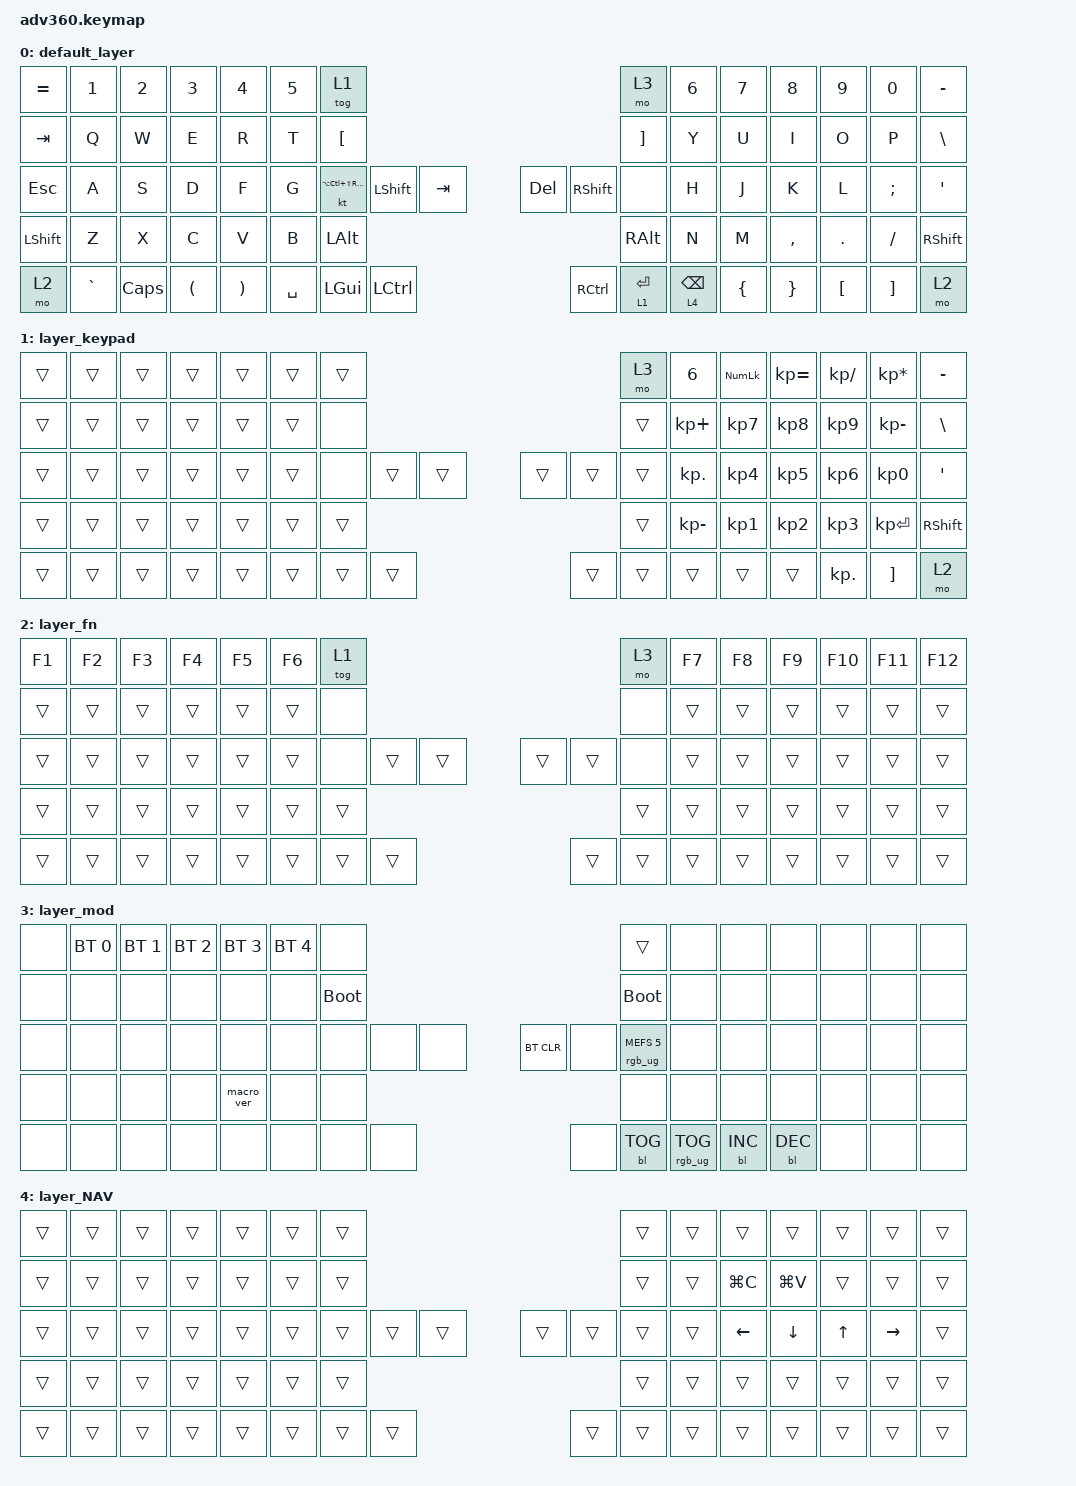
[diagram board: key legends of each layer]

/*
 * Copyright (c) 2020 The ZMK Contributors
 *
 * SPDX-License-Identifier: MIT
 */


/* THIS FILE WAS GENERATED!
 *
 * This file was generated automatically. You may or may not want to
 * edit it directly.
 */

#include <behaviors.dtsi>
#include <dt-bindings/zmk/keys.h>
#include <dt-bindings/zmk/keys.h>
#include <dt-bindings/zmk/bt.h>
#include <dt-bindings/zmk/rgb.h>
#include <dt-bindings/zmk/backlight.h>

/ {
  behaviors {
    #include "macros.dtsi"
    #include "version.dtsi"

    hm: homerow_mods {
        compatible = "zmk,behavior-hold-tap";
        label = "HOMEROW_MODS";
        #binding-cells = <2>;
        tapping-term-ms = <200>;
        quick_tap_ms = <175>;
        flavor = "tap-preferred";
        bindings = <&kp>, <&kp>;
    };
  };
 combos {
    compatible = "zmk,combos";
    combo_EQUAL {
             timeout-ms = <50>;
             key-positions = <31 32>;
             bindings = <&kp EQUAL>;
         };
    combo_MINUS {
             timeout-ms = <50>;
             key-positions = <32 33>;
             bindings = <&kp KP_MINUS>;
         };
    combo_PLUS {
             timeout-ms = <50>;
             key-positions = <30 31>;
             bindings = <&kp KP_PLUS>;
         };
     combo_EXCL {
             timeout-ms = <50>;
             key-positions = <32 17>;
             bindings = <&kp EXCL>;
         };
     combo_QMARK {
             timeout-ms = <50>;
             key-positions = <41 24>;
             bindings = <&kp QMARK>;
         };
     combo_COLON {
             timeout-ms = <50>;
             key-positions = <55 42>;
             bindings = <&kp COLON>;
         };
     combo_DQT {
             timeout-ms = <50>;
             key-positions = <41 42>;
             bindings = <&kp DQT>;
         };
       combo_UNDER{
             timeout-ms = <50>;
             key-positions = <50 31>;
             bindings = <&kp UNDER>;
         };
    
 };
keymap {
        compatible = "zmk,keymap";


        default_layer {
            bindings = <
 &kp EQUAL     &kp N1    &kp N2    &kp N3    &kp N4  &kp N5                               &tog 1                                                                                              &mo 3  &kp N6    &kp N7     &kp N8    &kp N9    &kp N0  &kp MINUS
   &kp TAB      &kp Q     &kp W     &kp E     &kp R   &kp T                             &kp LBKT                                                                                           &kp RBKT   &kp Y     &kp U      &kp I     &kp O     &kp P   &kp BSLH
   &kp ESC      &kp A     &kp S     &kp D     &kp F   &kp G            &kt LA(LC(LS(RIGHT_GUI)))  &kp LEFT_SHIFT           &kp TAB                            &kp DEL   &kp RSHIFT            &none   &kp H     &kp J      &kp K     &kp L  &kp SEMI    &kp SQT
 &kp LSHFT      &kp Z     &kp X     &kp C     &kp V   &kp B                                                           &kp LEFT_ALT                      &kp RIGHT_ALT                                 &kp N     &kp M  &kp COMMA   &kp DOT  &kp FSLH  &kp RSHFT
     &mo 2  &kp GRAVE  &kp CAPS  &kp LPAR  &kp RPAR                                    &kp SPACE    &kp LEFT_GUI  &kp LEFT_CONTROL                  &kp RIGHT_CONTROL  &lt 1 ENTER  &lt 4 BACKSPACE          &kp LBRC   &kp RBRC  &kp LBKT  &kp RBKT      &mo 2
            >;
        };

        layer_keypad {
            bindings = <
 &trans  &trans  &trans  &trans  &trans  &trans            &trans                                                   &mo 3        &kp N6  &kp KP_NUM  &kp KP_EQUAL  &kp KP_DIVIDE  &kp KP_MULTIPLY  &kp MINUS
 &trans  &trans  &trans  &trans  &trans  &trans             &none                                                  &trans   &kp KP_PLUS   &kp KP_N7     &kp KP_N8      &kp KP_N9     &kp KP_MINUS   &kp BSLH
 &trans  &trans  &trans  &trans  &trans  &trans             &none  &trans  &trans                  &trans  &trans  &trans    &kp KP_DOT   &kp KP_N4     &kp KP_N5      &kp KP_N6        &kp KP_N0    &kp SQT
 &trans  &trans  &trans  &trans  &trans  &trans                            &trans                  &trans                  &kp KP_MINUS   &kp KP_N1     &kp KP_N2      &kp KP_N3     &kp KP_ENTER  &kp RSHFT
 &trans  &trans  &trans  &trans  &trans                    &trans  &trans  &trans                  &trans  &trans  &trans                    &trans        &trans     &kp KP_DOT         &kp RBKT      &mo 2
            >;
        };

        layer_fn {
            bindings = <
 &kp F1  &kp F2  &kp F3  &kp F4  &kp F5  &kp F6            &tog 1                                                   &mo 3  &kp F7  &kp F8  &kp F9  &kp F10  &kp F11  &kp F12
 &trans  &trans  &trans  &trans  &trans  &trans             &none                                                   &none  &trans  &trans  &trans   &trans   &trans   &trans
 &trans  &trans  &trans  &trans  &trans  &trans             &none  &trans  &trans                  &trans  &trans   &none  &trans  &trans  &trans   &trans   &trans   &trans
 &trans  &trans  &trans  &trans  &trans  &trans                            &trans                  &trans                  &trans  &trans  &trans   &trans   &trans   &trans
 &trans  &trans  &trans  &trans  &trans                    &trans  &trans  &trans                  &trans  &trans  &trans          &trans  &trans   &trans   &trans   &trans
            >;
        };

        layer_mod {
            bindings = <
  &none  &bt BT_SEL 0  &bt BT_SEL 1  &bt BT_SEL 2  &bt BT_SEL 3  &bt BT_SEL 4                  &none                                                                          &trans   &none       &none       &none   &none   &none   &none
  &none         &none         &none         &none         &none         &none            &bootloader                                                                     &bootloader   &none       &none       &none   &none   &none   &none
  &none         &none         &none         &none         &none         &none                  &none   &none   &none                  &bt BT_CLR       &none  &rgb_ug RGB_MEFS_CMD 5   &none       &none       &none   &none   &none   &none
  &none         &none         &none         &none    &macro_ver         &none                                  &none                       &none                                       &none       &none       &none   &none   &none   &none
  &none         &none         &none         &none         &none                                &none   &none   &none                       &none  &bl BL_TOG         &rgb_ug RGB_TOG          &bl BL_INC  &bl BL_DEC   &none   &none   &none
            >;
        };

        layer_NAV {
            bindings = <
 &trans  &trans  &trans  &trans  &trans  &trans            &trans                                                  &trans  &trans     &trans     &trans  &trans     &trans  &trans
 &trans  &trans  &trans  &trans  &trans  &trans            &trans                                                  &trans  &trans  &kp LG(C)  &kp LG(V)  &trans     &trans  &trans
 &trans  &trans  &trans  &trans  &trans  &trans            &trans  &trans  &trans                  &trans  &trans  &trans  &trans   &kp LEFT   &kp DOWN  &kp UP  &kp RIGHT  &trans
 &trans  &trans  &trans  &trans  &trans  &trans                            &trans                  &trans                  &trans     &trans     &trans  &trans     &trans  &trans
 &trans  &trans  &trans  &trans  &trans                    &trans  &trans  &trans                  &trans  &trans  &trans             &trans     &trans  &trans     &trans  &trans
            >;
        };

    };
};
